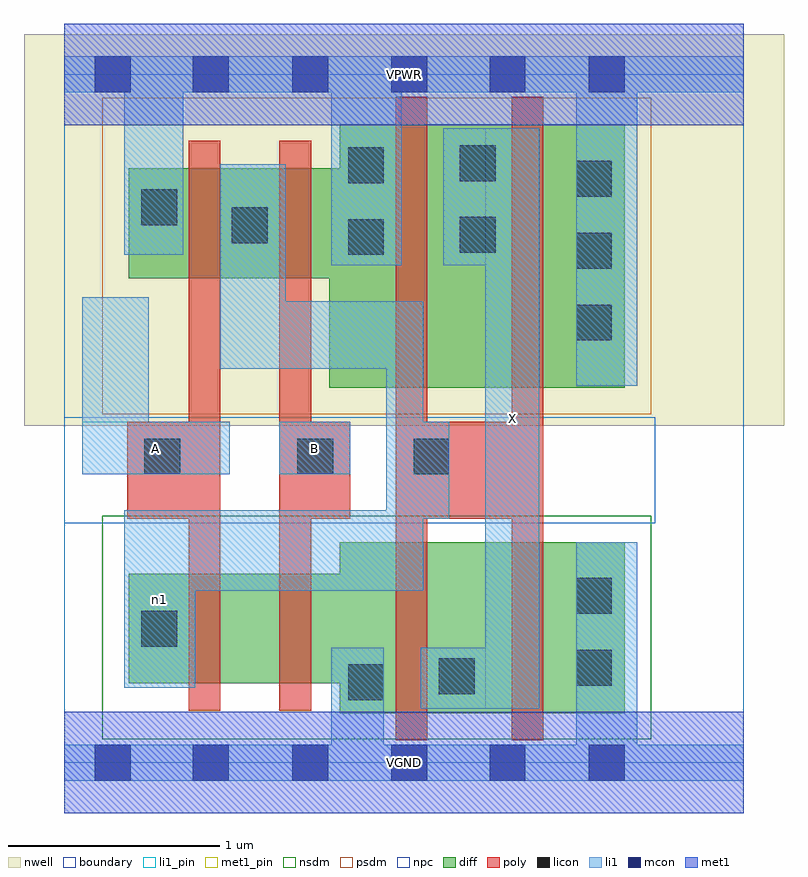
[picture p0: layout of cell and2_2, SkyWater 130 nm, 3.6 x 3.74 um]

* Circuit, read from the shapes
.subckt and2_2 A B VGND VPWR X n1
XM1 n2 A n1 VSUBS sky130_fd_pr__nfet_01v8 w=0.52 l=0.15
XM2 VGND B n2 VSUBS sky130_fd_pr__nfet_01v8 w=0.52 l=0.15
XM3 X n1 VGND VSUBS sky130_fd_pr__nfet_01v8 w=0.81 l=0.15 m=2
XM4 n1 A VPWR n3 sky130_fd_pr__pfet_01v8 w=0.52 l=0.15
XM5 VPWR B n1 n3 sky130_fd_pr__pfet_01v8 w=0.52 l=0.15
XM6 X n1 VPWR n3 sky130_fd_pr__pfet_01v8 w=1.25 l=0.15 m=2
.ends

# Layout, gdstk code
import gdstk
lib = gdstk.Library(unit=1e-6, precision=1e-09)
def R(c, l, rs):  # rectangles x0, y0, x1, y1
    for r in rs: c.add(gdstk.rectangle(r[:2], r[2:], *l))
def A(c, l, x, y, w, h, nx, ny, dx, dy):  # array of equal rectangles
    R(c, l, [(x+i*dx, y+j*dy, x+i*dx+w, y+j*dy+h) for i in range(nx) for j in range(ny)])
nwell = (64, 20)
diff = (65, 20)
poly = (66, 20)
licon = (66, 44)
li1_pin = (67, 16)
li1 = (67, 20)
mcon = (67, 44)
met1_pin = (68, 16)
met1 = (68, 20)
nsdm = (93, 44)
psdm = (94, 20)
npc = (95, 20)
boundary = (235, 4)

and2_2 = lib.new_cell('and2_2')
R(and2_2, nwell, [(-0.19,1.595,3.41,3.45), (0,1.595,3.22,3.45)])
R(and2_2, diff, [(1.305,0.235,2.655,1.045), (0.305,0.375,2.655,0.895), (1.255,1.775,2.655,2.815), (1.305,1.775,2.655,3.025), (0.305,2.295,2.655,2.815)])
R(and2_2, poly, [(1.57,0.105,1.72,3.155), (2.12,0.105,2.27,3.155), (0.59,0.245,0.74,2.945), (1.02,0.245,1.17,2.945), (0.3,1.155,0.74,1.615), (1.02,1.155,1.355,1.615), (1.57,1.155,2.27,1.615)])
A(and2_2, licon, 2.425, 2, 0.17, 0.17, 1, 3, 0, 0.34)
R(and2_2, licon, [(1.345,0.295,1.515,0.465), (1.775,0.325,1.945,0.495), (2.425,0.365,2.595,0.535), (0.365,0.55,0.535,0.72), (2.425,0.705,2.595,0.875), (0.38,1.365,0.55,1.535), (1.105,1.365,1.275,1.535), (1.655,1.365,1.825,1.535), (1.345,2.405,1.515,2.575), (1.875,2.415,2.045,2.585), (0.795,2.46,0.965,2.63), (0.365,2.545,0.535,2.715), (1.345,2.745,1.515,2.915), (1.875,2.755,2.045,2.925)])
R(and2_2, li1_pin, [(1.995,0.255,2.25,3.005), (0.085,1.365,0.785,1.615), (1.02,1.365,1.355,1.615)])
R(and2_2, li1, [(0,-0.085,3.22,0.085), (1.265,-0.085,1.515,0.545), (2.425,-0.085,2.715,1.045), (1.69,0.255,2.25,0.545), (1.995,0.255,2.25,3.005), (0.285,0.355,0.62,1.195), (0.285,0.815,1.7,1.195), (1.525,0.815,1.7,2.185), (1.525,1.155,1.825,1.615), (0.085,1.365,0.4,2.205), (0.085,1.365,0.785,1.615), (1.02,1.365,1.355,1.615), (2.425,1.785,2.715,3.345), (0.74,1.865,1.05,2.835), (0.74,1.865,1.7,2.185), (1.265,2.355,1.6,3.345), (1.795,2.355,2.25,3.005), (0.285,2.405,0.565,3.345), (0,3.175,3.22,3.345)])
A(and2_2, mcon, 0.61, -0.085, 0.17, 0.17, 3, 2, 0.47, 3.26)
R(and2_2, mcon, [(0.145,-0.085,0.315,0.085), (2.015,-0.085,2.185,0.085), (2.485,-0.085,2.655,0.085), (0.145,3.175,0.315,3.345), (2.015,3.175,2.185,3.345), (2.485,3.175,2.655,3.345)])
R(and2_2, met1_pin, [(0,-0.24,3.22,0.24), (0,3.02,3.22,3.5)])
R(and2_2, met1, [(0,-0.24,3.22,0.24), (0,3.02,3.22,3.5)])
R(and2_2, nsdm, [(0.18,0.11,2.78,1.17)])
R(and2_2, psdm, [(0.18,1.65,2.78,3.15)])
R(and2_2, npc, [(0,1.135,2.8,1.635)])
R(and2_2, boundary, [(0,0,3.22,3.26)])
and2_2.add(gdstk.Label('A', (0.435,1.49), layer=67, texttype=5))
and2_2.add(gdstk.Label('B', (1.187,1.49), layer=67, texttype=5))
and2_2.add(gdstk.Label('X', (2.122,1.63), layer=67, texttype=5))
and2_2.add(gdstk.Label('n1', (0.452,0.775), layer=67, texttype=5))
and2_2.add(gdstk.Label('VPWR', (1.61,3.26), layer=68, texttype=5))
and2_2.add(gdstk.Label('VGND', (1.61,0), layer=68, texttype=5))
and2_2.add(gdstk.Label('A', (0.435,1.49), layer=67, texttype=16))
and2_2.add(gdstk.Label('B', (1.187,1.49), layer=67, texttype=16))
and2_2.add(gdstk.Label('X', (2.122,1.63), layer=67, texttype=16))
and2_2.add(gdstk.Label('VPWR', (1.61,3.26), layer=68, texttype=16))
and2_2.add(gdstk.Label('VGND', (1.61,0), layer=68, texttype=16))

lib.write_gds('and2_2.gds')
